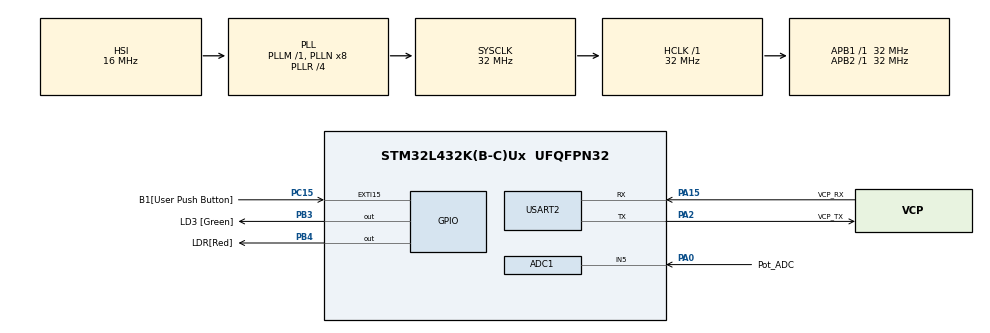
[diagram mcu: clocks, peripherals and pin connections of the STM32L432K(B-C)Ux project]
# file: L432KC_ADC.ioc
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ADC1.Channel-0\#ChannelRegularConversion=ADC_CHANNEL_5
ADC1.NbrOfConversionFlag=1
ADC1.OffsetNumber-0\#ChannelRegularConversion=ADC_OFFSET_NONE
ADC1.Rank-0\#ChannelRegularConversion=1
ADC1.SamplingTime-0\#ChannelRegularConversion=ADC_SAMPLETIME_2CYCLES_5
ADC1.master=1
Mcu.Family=STM32L4
Mcu.Name=STM32L432K(B-C)Ux
Mcu.Package=UFQFPN32
NVIC.PriorityGroup=NVIC_PRIORITYGROUP_4
PA0.GPIO_Label=Pot_ADC
PA0.Signal=ADCx_IN5
PA13\ (JTMS-SWDIO).GPIO_Label=SWDIO
PA13\ (JTMS-SWDIO).Mode=Serial_Wire
PA13\ (JTMS-SWDIO).Signal=SYS_JTMS-SWDIO
PA14\ (JTCK-SWCLK).GPIO_Label=SWCLK
PA14\ (JTCK-SWCLK).Mode=Serial_Wire
PA14\ (JTCK-SWCLK).Signal=SYS_JTCK-SWCLK
PA15\ (JTDI).GPIO_Label=VCP_RX
PA15\ (JTDI).Mode=Asynchronous
PA15\ (JTDI).Signal=USART2_RX
PA2.GPIO_Label=VCP_TX
PA2.Mode=Asynchronous
PA2.Signal=USART2_TX
PB3\ (JTDO-TRACESWO).GPIO_Label=LD3 [Green]
PB3\ (JTDO-TRACESWO).Signal=GPIO_Output
PB4\ (NJTRST).GPIO_Label=LDR[Red]
PB4\ (NJTRST).Signal=GPIO_Output
PC15-OSC32_OUT\ (PC15).GPIO_Label=B1[User Push Button]
PC15-OSC32_OUT\ (PC15).Signal=GPXTI15
ProjectManager.HeapSize=0x200
ProjectManager.StackSize=0x400
ProjectManager.TargetToolchain=STM32CubeIDE
RCC.ADCFreq_Value=64000000
RCC.AHBFreq_Value=32000000
RCC.APB1Freq_Value=32000000
RCC.APB1TimFreq_Value=32000000
RCC.APB2Freq_Value=32000000
RCC.APB2TimFreq_Value=32000000
RCC.CortexFreq_Value=32000000
RCC.HCLKFreq_Value=32000000
RCC.HSE_VALUE=8000000
RCC.HSI16_VALUE=16000000
RCC.HSI48_VALUE=48000000
RCC.HSI_VALUE=16000000
RCC.MSI_VALUE=4000000
RCC.PLLMUL=RCC_PLLMUL_4
RCC.PLLR=RCC_PLLR_DIV4
RCC.PLLSourceVirtual=RCC_PLLSOURCE_HSI
RCC.SYSCLKFreq_VALUE=32000000
RCC.SYSCLKSource=RCC_SYSCLKSOURCE_PLLCLK
RCC.USBFreq_Value=64000000
RCC.VCOOutputFreq_Value=128000000
SH.ADCx_IN5.0=ADC1_IN5,IN5-Single-Ended
USART2.SwapParam=ADVFEATURE_SWAP_ENABLE
USART2.VirtualMode-Asynchronous=VM_ASYNC
board=NUCLEO-L432KC

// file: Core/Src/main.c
/* USER CODE BEGIN Header */
/**
 ******************************************************************************
 * @file           : main.c
 * @brief          : Main program body
 ******************************************************************************
 * @attention
 *
 * Copyright (c) 2025 STMicroelectronics.
 * All rights reserved.
 *
 * This software is licensed under terms that can be found in the LICENSE file
 * in the root directory of this software component.
 * If no LICENSE file comes with this software, it is provided AS-IS.
 *
 ******************************************************************************
 */
/* USER CODE END Header */
#include "main.h"
#include "adc.h"
#include "usart.h"
#include "gpio.h"

/* USER CODE BEGIN Includes */
#include "stdio.h"
#include "string.h"
/* USER CODE END Includes */

/* USER CODE BEGIN PV */
long resultatADC;
float tensionADC;
char clearScreen[] = "\e[1;1H\e[2J";  // Commande pour effacer l'écran
char output[100];  // Tampon de sortie pour la conversion de données
/* USER CODE END PV */

void SystemClock_Config(void);

int main(void)
{

	/* MCU Configuration--------------------------------------------------------*/

	/* Reset of all peripherals, Initializes the Flash interface and the Systick. */
	HAL_Init();

	/* Configure the system clock */
	SystemClock_Config();

	/* Initialize all configured peripherals */
	MX_GPIO_Init();
	MX_USART2_UART_Init();
	MX_ADC1_Init();

	/* Infinite loop */
	/* USER CODE BEGIN WHILE */
	while (1)
	{
		HAL_ADC_Start(&hadc1);
		resultatADC = HAL_ADC_GetValue(&hadc1);
		tensionADC = (resultatADC * 3.3)/4096;

		// Effacer l'écran
		HAL_UART_Transmit(&huart2, (uint8_t*)clearScreen, strlen(clearScreen), HAL_MAX_DELAY);

		// Afficher le résultat de l'ADC en binaire
		snprintf(output, sizeof(output), "ADC result binary %ld \r\n", resultatADC);
		HAL_UART_Transmit(&huart2, (uint8_t*)output, strlen(output), HAL_MAX_DELAY);

		// Afficher la valeur de tension de l'ADC
		snprintf(output, sizeof(output), "ADC tension value %f \r\n", tensionADC);
		HAL_UART_Transmit(&huart2, (uint8_t*)output, strlen(output), HAL_MAX_DELAY);
		HAL_Delay(500);

		/* USER CODE END WHILE */

	}
}

void SystemClock_Config(void)
{
	RCC_OscInitTypeDef RCC_OscInitStruct = {0};
	RCC_ClkInitTypeDef RCC_ClkInitStruct = {0};

	/** Configure the main internal regulator output voltage
	 */
	if (HAL_PWREx_ControlVoltageScaling(PWR_REGULATOR_VOLTAGE_SCALE1) != HAL_OK)
	{
		Error_Handler();
	}

	/** Initializes the RCC Oscillators according to the specified parameters
	 * in the RCC_OscInitTypeDef structure.
	 */
	RCC_OscInitStruct.OscillatorType = RCC_OSCILLATORTYPE_HSI;
	RCC_OscInitStruct.HSIState = RCC_HSI_ON;
	RCC_OscInitStruct.HSICalibrationValue = RCC_HSICALIBRATION_DEFAULT;
	RCC_OscInitStruct.PLL.PLLState = RCC_PLL_ON;
	RCC_OscInitStruct.PLL.PLLSource = RCC_PLLSOURCE_HSI;
	RCC_OscInitStruct.PLL.PLLM = 1;
	RCC_OscInitStruct.PLL.PLLN = 8;
	RCC_OscInitStruct.PLL.PLLP = RCC_PLLP_DIV7;
	RCC_OscInitStruct.PLL.PLLQ = RCC_PLLQ_DIV2;
	RCC_OscInitStruct.PLL.PLLR = RCC_PLLR_DIV4;
	if (HAL_RCC_OscConfig(&RCC_OscInitStruct) != HAL_OK)
	{
		Error_Handler();
	}

	/** Initializes the CPU, AHB and APB buses clocks
	 */
	RCC_ClkInitStruct.ClockType = RCC_CLOCKTYPE_HCLK|RCC_CLOCKTYPE_SYSCLK
			|RCC_CLOCKTYPE_PCLK1|RCC_CLOCKTYPE_PCLK2;
	RCC_ClkInitStruct.SYSCLKSource = RCC_SYSCLKSOURCE_PLLCLK;
	RCC_ClkInitStruct.AHBCLKDivider = RCC_SYSCLK_DIV1;
	RCC_ClkInitStruct.APB1CLKDivider = RCC_HCLK_DIV1;
	RCC_ClkInitStruct.APB2CLKDivider = RCC_HCLK_DIV1;

	if (HAL_RCC_ClockConfig(&RCC_ClkInitStruct, FLASH_LATENCY_1) != HAL_OK)
	{
		Error_Handler();
	}
}

void Error_Handler(void)
{
	__disable_irq();
	while (1)
	{
	}
}
